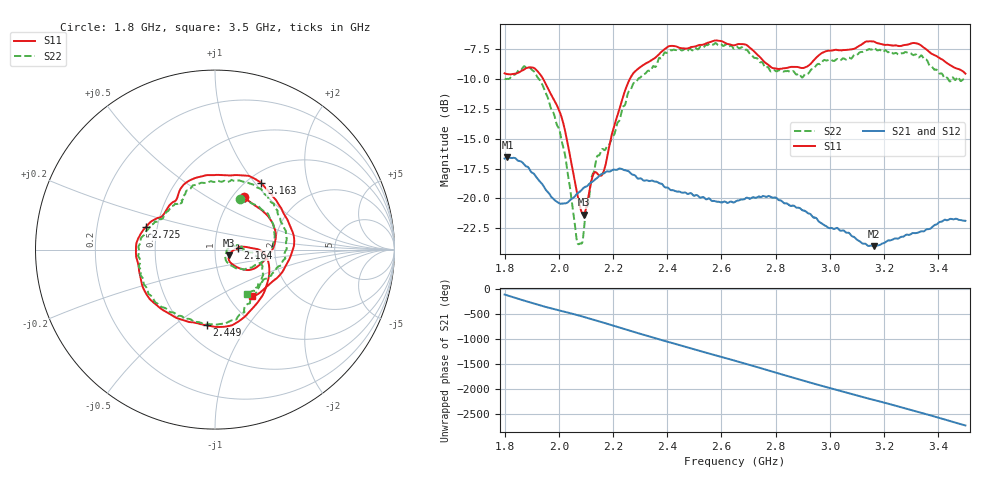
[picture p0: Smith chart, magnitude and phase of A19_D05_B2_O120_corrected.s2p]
! Created with skrf 1.9.0 (http://scikit-rf.org).
# Hz S RI R 50.0
!freq ReS11 ImS11 ReS21 ImS21 ReS12 ImS12 ReS22 ImS22
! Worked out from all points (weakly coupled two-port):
!   1601 points, 1.8 GHz to 3.5 GHz, reference 50 ohm
!   highest |S21| = -16.58 dB at 1.811 GHz (marker M1); lowest = -24.0 dB at 3.163 GHz (marker M2)
!   lowest |S11| = -21.3 dB at 2.091 GHz (marker M3), VSWR 1.19, Z = 58.5 - j3.77 ohm
!   |S11| at or under -10 dB: 1.942 GHz to 2.263 GHz (320.9 MHz wide, 15.3 % of centre)
!   |S22| runs from -23.8 to -7.0 dB; largest |S21 - S12| = 0.0028
!   S11 on the Smith chart (normalised r, x): 1.8 GHz: 1.13, +0.74; 2.164 GHz: 1.29, +0.03; 2.449 GHz: 0.64, -0.66; 2.725 GHz: 0.43, +0.13; 3.163 GHz: 1.16, +1.08; 3.5 GHz: 1.27, -0.75
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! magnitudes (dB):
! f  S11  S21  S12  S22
! 1.8 GHz  -9.6  -16.7  -16.7  -10.0
! 1.811 GHz  -9.6  -16.6  -16.6  -10.0
! 1.886 GHz  -9.1  -17.4  -17.4  -9.0
! 1.941 GHz  -10.0  -18.9  -18.9  -10.6
! 2.013 GHz  -13.4  -20.4  -20.4  -15.4
! 2.066 GHz  -19.4  -19.6  -19.6  -23.4
! 2.084 GHz  -21.1  -19.3  -19.3  -23.8
! 2.091 GHz  -21.3  -19.1  -19.2  -23.0
! 2.127 GHz  -18.0  -18.5  -18.5  -17.9
! 2.164 GHz  -17.8  -17.9  -17.9  -15.9
! 2.2 GHz  -14.3  -17.6  -17.6  -14.8
! 2.259 GHz  -10.2  -17.8  -17.8  -11.1
! 2.367 GHz  -8.0  -18.7  -18.6  -8.4
! 2.449 GHz  -7.5  -19.5  -19.5  -7.6
! 2.65 GHz  -7.2  -20.3  -20.3  -7.5
! 2.725 GHz  -7.8  -19.9  -19.9  -8.3
! 2.8 GHz  -9.2  -19.9  -19.9  -9.4
! 2.934 GHz  -8.6  -21.5  -21.4  -9.2
! 3.163 GHz  -6.9  -24.0  -23.9  -7.4
! 3.217 GHz  -7.2  -23.5  -23.5  -7.8
! 3.324 GHz  -7.1  -22.9  -22.8  -8.2
! 3.5 GHz  -9.6  -21.9  -21.8  -10.3
